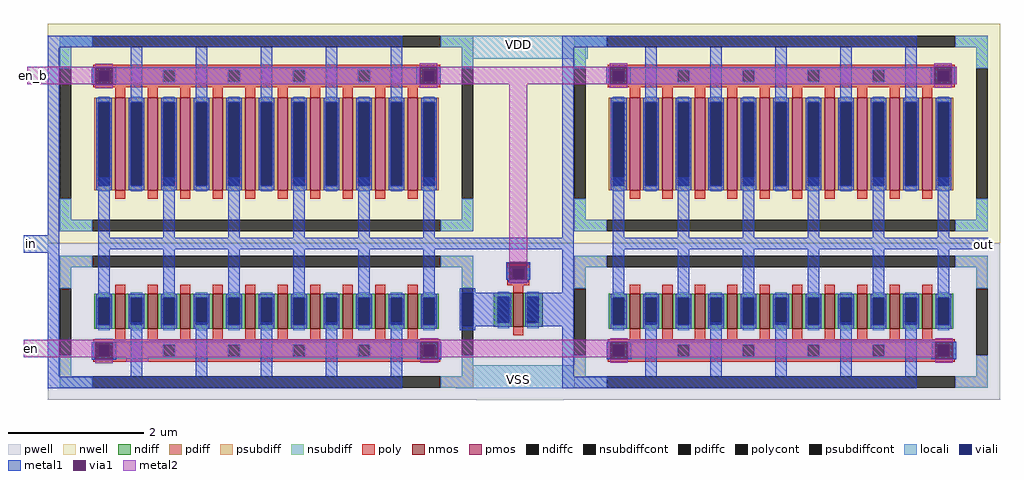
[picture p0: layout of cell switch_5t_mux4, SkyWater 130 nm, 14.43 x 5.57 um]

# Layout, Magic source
magic
tech sky130A
magscale 1 2
<< nwell >>
rect 1443 906 1802 1118
rect 1427 468 1802 906
<< pwell >>
rect 1430 323 1686 468
rect 1380 239 1686 323
rect 1430 4 1686 239
<< locali >>
rect 1386 1048 1767 1082
rect 1386 1014 1759 1048
rect 1386 74 1753 108
rect 1368 40 1766 74
<< viali >>
rect 312 946 346 980
rect 1272 946 1306 980
rect 1833 946 1867 980
rect 2793 946 2827 980
rect 1386 223 1420 323
rect 312 135 346 169
rect 1272 135 1306 169
rect 1833 135 1867 169
rect 2793 135 2827 169
<< metal1 >>
rect 293 937 303 989
rect 355 937 365 989
rect 1252 938 1262 990
rect 1314 938 1324 990
rect 1813 938 1823 990
rect 1875 938 1885 990
rect 2773 938 2783 990
rect 2835 938 2845 990
rect 92 441 187 493
rect 1153 451 1717 485
rect 2759 451 2942 485
rect 1517 361 1527 413
rect 1579 361 1589 413
rect 1380 323 1426 335
rect 1380 223 1386 323
rect 1420 223 1526 323
rect 1580 246 1683 323
rect 1580 239 1695 246
rect 1603 223 1695 239
rect 1380 211 1426 223
rect 292 124 302 176
rect 354 124 364 176
rect 1254 126 1264 178
rect 1316 126 1326 178
rect 1815 126 1825 178
rect 1877 126 1887 178
rect 2775 126 2785 178
rect 2837 126 2847 178
<< via1 >>
rect 303 980 355 989
rect 303 946 312 980
rect 312 946 346 980
rect 346 946 355 980
rect 303 937 355 946
rect 1262 980 1314 990
rect 1262 946 1272 980
rect 1272 946 1306 980
rect 1306 946 1314 980
rect 1262 938 1314 946
rect 1823 980 1875 990
rect 1823 946 1833 980
rect 1833 946 1867 980
rect 1867 946 1875 980
rect 1823 938 1875 946
rect 2783 980 2835 990
rect 2783 946 2793 980
rect 2793 946 2827 980
rect 2827 946 2835 980
rect 2783 938 2835 946
rect 1527 361 1579 413
rect 302 169 354 176
rect 302 135 312 169
rect 312 135 346 169
rect 346 135 354 169
rect 302 124 354 135
rect 1264 169 1316 178
rect 1264 135 1272 169
rect 1272 135 1306 169
rect 1306 135 1316 169
rect 1264 126 1316 135
rect 1825 169 1877 178
rect 1825 135 1833 169
rect 1833 135 1867 169
rect 1867 135 1877 169
rect 1825 126 1877 135
rect 2785 169 2837 178
rect 2785 135 2793 169
rect 2793 135 2827 169
rect 2827 135 2837 169
rect 2785 126 2837 135
<< metal2 >>
rect 303 990 355 999
rect 1262 990 1314 1000
rect 1823 990 1875 1000
rect 2783 990 2835 1000
rect 101 989 1262 990
rect 101 938 303 989
rect 355 938 1262 989
rect 1314 938 1823 990
rect 1875 938 2783 990
rect 2835 938 2849 990
rect 303 927 355 937
rect 1262 928 1314 938
rect 1527 413 1579 938
rect 1823 928 1875 938
rect 2783 928 2835 938
rect 1527 351 1579 361
rect 302 183 354 186
rect 394 183 460 185
rect 1264 183 1316 188
rect 1825 183 1877 188
rect 2785 183 2837 188
rect 92 178 2837 183
rect 92 176 1264 178
rect 92 131 302 176
rect 354 131 1264 176
rect 302 114 354 124
rect 394 119 460 131
rect 1316 131 1825 178
rect 1264 116 1316 126
rect 1877 131 2785 178
rect 1825 116 1877 126
rect 2785 116 2837 126
use nmos_PDN_mux4  nmos_PDN_mux4_0
transform 1 0 1553 0 1 312
box -73 -116 73 98
use transmission_gate  transmission_gate_0 ~/ee372/incremental_delta_sigma_adc/design/analog_modulator/layout_v2/transmission_gate
transform 1 0 215 0 1 55
box -53 -49 1241 1063
use transmission_gate  transmission_gate_1
transform 1 0 1736 0 1 55
box -53 -49 1241 1063
<< labels >>
flabel locali 1553 1056 1553 1056 1 FreeSans 400 0 0 0 VDD
port 5 n power bidirectional
flabel locali 1553 66 1553 66 1 FreeSans 400 0 0 0 VSS
port 6 n ground bidirectional
flabel metal1 114 469 114 469 1 FreeSans 400 0 0 0 in
port 1 n
flabel metal2 120 965 120 965 1 FreeSans 400 0 0 0 en_b
port 4 n
flabel metal2 114 158 114 158 1 FreeSans 400 0 0 0 en
port 3 n
flabel metal1 2927 465 2927 465 1 FreeSans 400 0 0 0 out
port 2 n
<< end >>

# cell nmos_PDN_mux4: kit device sky130_fd_pr__nfet_01v8, w 0.420 l 0.150 m 1 nf 1 diffcov 100 polycov 100 guard 0 glc 0 grc 0 gtc 0 gbc 0 tbcov 100 rlcov 100 topc 1 botc 0 poverlap 0 doverlap 1 lmin 0.15 wmin 0.42 compatible {sky130_fd_pr__nfet_01v8 sky130_fd_pr__nfet_01v8_lvt sky130_fd_bs_flash__special_sonosfet_star sky130_fd_pr__nfet_g5v0d10v5 sky130_fd_pr__nfet_05v0_nvt sky130_fd_pr__nfet_03v3_nvt} full_metal 0 viasrc 100 viadrn 100 viagate 100 viagb 0 viagr 0 viagl 0 viagt 0

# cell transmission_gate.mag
magic
tech sky130A
magscale 1 2
<< locali >>
rect 1171 993 1205 1027
rect 81 883 97 933
rect 81 72 97 122
rect 1171 -13 1205 19
<< metal1 >>
rect -53 993 995 1027
rect -53 19 -19 993
rect 193 832 227 993
rect 385 832 419 993
rect 577 832 611 993
rect 769 832 803 993
rect 961 832 995 993
rect 97 430 131 608
rect 289 430 323 608
rect 481 430 515 608
rect 673 430 707 608
rect 865 430 899 608
rect 1057 430 1091 608
rect 97 396 1091 430
rect 97 253 131 396
rect 289 253 323 396
rect 481 253 515 396
rect 673 253 707 396
rect 865 253 899 396
rect 1057 253 1091 396
rect 193 19 227 180
rect 385 19 419 180
rect 577 19 611 180
rect 769 19 803 180
rect 961 19 995 180
rect -53 -15 995 19
use nmos_tgate  nmos_tgate_0
transform 1 0 593 0 1 213
box -646 -262 648 200
use pmos_tgate  pmos_tgate_0
transform -1 0 595 0 -1 707
box -646 -356 648 294
<< labels >>
flabel locali 1188 2 1188 2 1 FreeSans 400 0 0 0 VSS
port 6 n ground bidirectional
flabel locali 1188 1010 1188 1010 1 FreeSans 400 0 0 0 VDD
port 5 n power bidirectional
flabel metal1 -34 410 -34 410 1 FreeSans 400 0 0 0 in
port 1 n
flabel metal1 1074 412 1074 412 1 FreeSans 400 0 0 0 out
port 2 n
flabel locali 88 98 88 98 1 FreeSans 400 0 0 0 en
port 3 n
flabel locali 88 910 88 910 1 FreeSans 400 0 0 0 en_b
port 4 n
<< end >>

# cell nmos_tgate: kit device sky130_fd_pr__nfet_01v8, w 0.53 l 0.150 m 1 nf 10 diffcov 100 polycov 100 guard 1 glc 1 grc 1 gtc 1 gbc 1 tbcov 100 rlcov 100 topc 1 botc 1 poverlap 0 doverlap 1 lmin 0.15 wmin 0.42 compatible {sky130_fd_pr__nfet_01v8 sky130_fd_pr__nfet_01v8_lvt sky130_fd_bs_flash__special_sonosfet_star sky130_fd_pr__nfet_g5v0d10v5 sky130_fd_pr__nfet_05v0_nvt sky130_fd_pr__nfet_03v3_nvt} full_metal 1 viasrc 100 viadrn 100 viagate 100 viagb 0 viagr 0 viagl 0 viagt 0

# cell pmos_tgate: kit device sky130_fd_pr__pfet_01v8, w 1.37 l 0.15 m 1 nf 10 diffcov 100 polycov 100 guard 1 glc 1 grc 1 gtc 1 gbc 1 tbcov 100 rlcov 100 topc 1 botc 1 poverlap 0 doverlap 1 lmin 0.15 wmin 0.42 compatible {sky130_fd_pr__pfet_01v8 sky130_fd_pr__pfet_01v8_lvt sky130_fd_pr__pfet_01v8_hvt sky130_fd_pr__pfet_g5v0d10v5} full_metal 1 viasrc 100 viadrn 100 viagate 100 viagb 0 viagr 0 viagl 0 viagt 0
